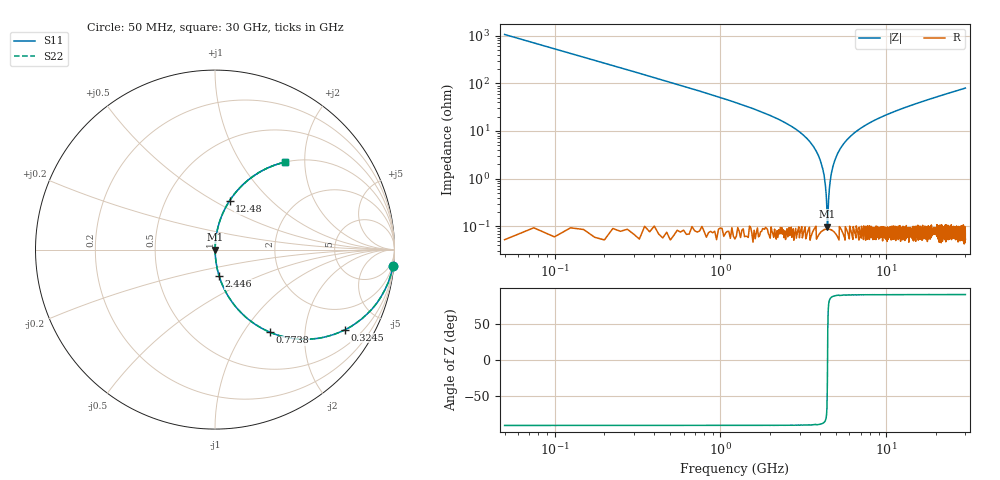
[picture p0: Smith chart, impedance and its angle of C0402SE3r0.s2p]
!	AVX Thin Film Operation 	Date: April 2014
!	Description: Accu-P® Series, Thin Film  SMD RF Capacitor
!	Part Number: 04025J3R0QBSTR
# MHZ S MA R 50
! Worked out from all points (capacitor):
!   1201 points, 50 MHz to 30 GHz, reference 50 ohm
!   read as one part in series: C = 3 pF near 199.8 MHz
!   lowest |Z| = 99.1 mohm at 4.418 GHz (marker M1)
!   series resonance near 4.426 GHz, so ESL is about 430 pH
!   S11 on the Smith chart (normalised r, x): 50 MHz: 1, -21; 324.5 MHz: 1.00, -3.25; 773.8 MHz: 1.00, -1.33; 2.446 GHz: 1.00, -0.30; 12.48 GHz: 1.00, +0.59; 30 GHz: 1.00, +1.59
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50  0.996 -5.4  0.094 84.6  0.094 84.6  0.996 -5.4
324.542  0.852 -31.6  0.524 58.4  0.524 58.4  0.852 -31.6
773.792  0.553 -56.3  0.832 33.6  0.832 33.6  0.553 -56.3
1372.792  0.33 -70.6  0.943 19.2  0.943 19.2  0.33 -70.6
2446  0.149 -81.2  0.988 8.6  0.988 8.6  0.149 -81.2
3319.542  0.07 -85.4  0.997 4.0  0.997 4.0  0.07 -85.4
3843.667  0.034 -86.8  0.999 1.9  0.999 1.9  0.034 -86.8
4118.208  0.017 -86.5  0.999 1.0  0.999 1.0  0.017 -86.5
4218.042  0.012 -85.6  0.999 0.7  0.999 0.7  0.012 -85.6
4317.875  0.005979 -82.4  0.999 0.3  0.999 0.3  0.005979 -82.4
4417.708  0.0008852 -30.9  0.999 0.0  0.999 0.0  0.0008852 -30.9
4517.542  0.004957 80.9  0.999 -0.3  0.999 -0.3  0.004957 80.9
4742.167  0.017 86.4  0.999 -0.9  0.999 -0.9  0.017 86.4
5041.667  0.031 86.8  0.999 -1.8  0.999 -1.8  0.031 86.8
5715.542  0.062 85.8  0.997 -3.5  0.997 -3.5  0.062 85.8
6763.792  0.104 83.6  0.994 -6.0  0.994 -6.0  0.104 83.6
10058.29  0.214 77.4  0.976 -12.4  0.976 -12.4  0.214 77.4
12479.25  0.283 73.4  0.958 -16.4  0.958 -16.4  0.283 73.4
15025  0.348 69.5  0.937 -20.4  0.937 -20.4  0.348 69.5
20016.67  0.458 62.7  0.888 -27.3  0.888 -27.3  0.458 62.7
25033.29  0.549 56.7  0.835 -33.3  0.835 -33.3  0.549 56.7
30000  0.622 51.5  0.783 -38.5  0.783 -38.5  0.622 51.5
